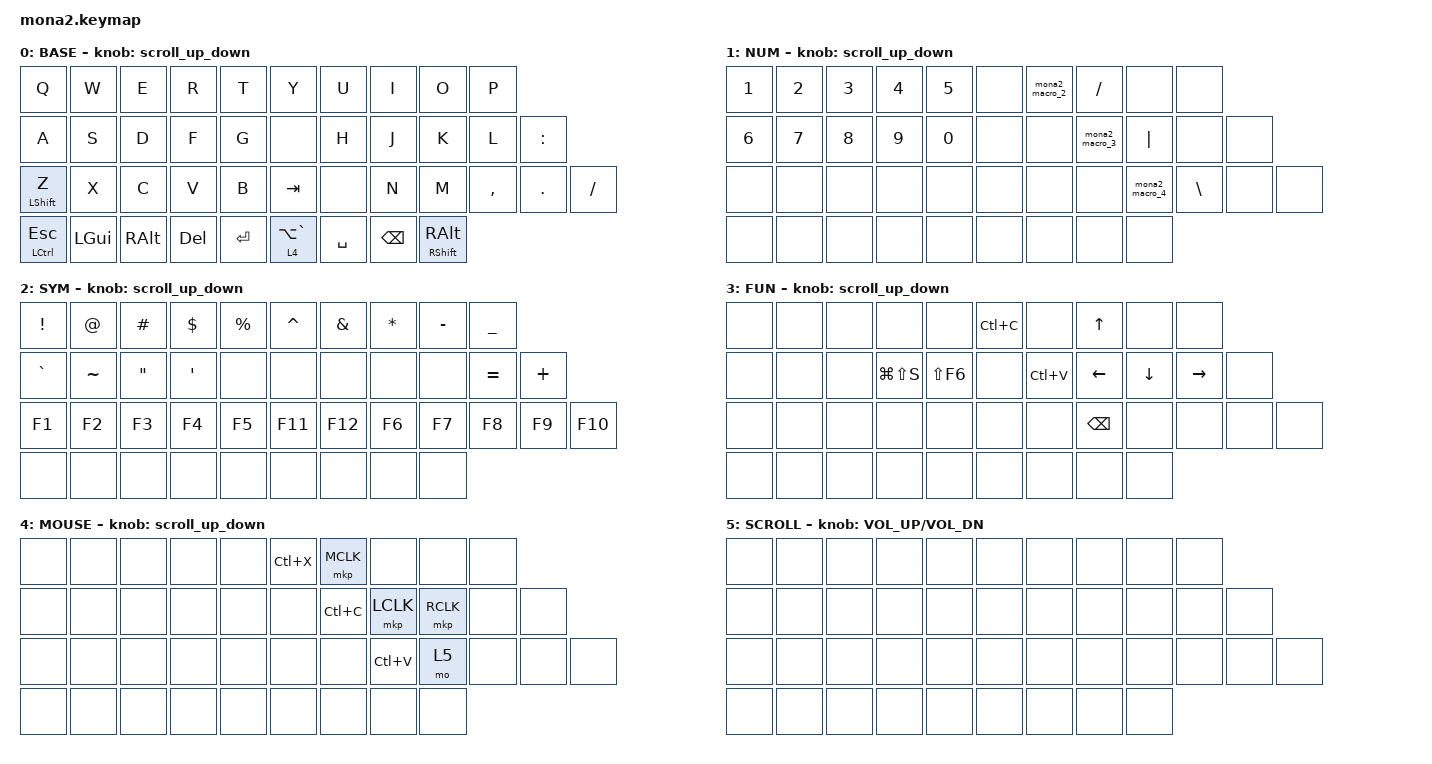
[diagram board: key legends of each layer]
/*
 * mona2.keymap — generated by moNa2 Studio
 * 公式ファームウェア (sayu-hub/zmk-config-moNa2-v2) の config/mona2.keymap を、このファイルで丸ごと置き換えます。
 * 配列: 42キー / 行構成 10・11・12・9 (公式ファームウェアの matrix transform 順)
 */

#include <input/processors.dtsi>
#include <dt-bindings/zmk/input_transform.h>
#include <zephyr/dt-bindings/input/input-event-codes.h>
#include <behaviors.dtsi>
#include <dt-bindings/zmk/bt.h>
#include <dt-bindings/zmk/keys.h>
#include <dt-bindings/zmk/pointing.h>

#define ZMK_POINTING_DEFAULT_SCRL_VAL 100

&mt {
    flavor = "balanced";
    quick-tap-ms = <0>;
};

&lt {
    quick-tap-ms = <300>;
    flavor = "balanced";
};

/ {
    mona2_macros {
        mona2_macro_1: mona2_macro_1 {
            compatible = "zmk,behavior-macro";
            #binding-cells = <0>;
            display-name = "Fpass";
            wait-ms = <15>;
            tap-ms = <30>;
            bindings
                = <&macro_tap &kp LS(F)>
                , <&macro_tap &kp J>
                , <&macro_tap &kp K>
                , <&macro_tap &kp L>
                , <&macro_tap &kp N0>
                , <&macro_tap &kp N1>
                , <&macro_tap &kp N7>
                , <&macro_tap &kp N0>
                , <&macro_tap &kp N1>
                , <&macro_tap &kp N6>
                , <&macro_tap &kp SEMI>
                ;
        };
        mona2_macro_2: mona2_macro_2 {
            compatible = "zmk,behavior-macro";
            #binding-cells = <0>;
            display-name = "( + )";
            wait-ms = <15>;
            tap-ms = <30>;
            bindings
                = <&macro_tap &kp LPAR>
                , <&macro_tap &kp RPAR>
                ;
        };
        mona2_macro_3: mona2_macro_3 {
            compatible = "zmk,behavior-macro";
            #binding-cells = <0>;
            display-name = "[ + ]";
            wait-ms = <15>;
            tap-ms = <30>;
            bindings
                = <&macro_tap &kp LBKT>
                , <&macro_tap &kp RBKT>
                ;
        };
        mona2_macro_4: mona2_macro_4 {
            compatible = "zmk,behavior-macro";
            #binding-cells = <0>;
            display-name = "{ + }";
            wait-ms = <15>;
            tap-ms = <30>;
            bindings
                = <&macro_tap &kp LBRC>
                , <&macro_tap &kp RBRC>
                ;
        };
    };

    combos {
        compatible = "zmk,combos";
        combo_1 {
            timeout-ms = <50>;
            key-positions = <17 18 19>;
            bindings = <&mona2_macro_1>;
            layers = <0>;
        };
        combo_2 {
            timeout-ms = <50>;
            key-positions = <0 36>;
            bindings = <&to 1>;
            layers = <0>;
        };
        combo_3 {
            timeout-ms = <50>;
            key-positions = <1 36>;
            bindings = <&to 2>;
            layers = <0>;
        };
        combo_4 {
            timeout-ms = <50>;
            key-positions = <2 36>;
            bindings = <&to 3>;
            layers = <0>;
        };
        combo_5 {
            timeout-ms = <50>;
            key-positions = <3 36>;
            bindings = <&to 4>;
            layers = <0>;
        };
        combo_6 {
            timeout-ms = <50>;
            key-positions = <38 39>;
            bindings = <&to 0>;
            layers = <1 2 3 4>;
        };
    };
    macros {
        to_layer_0: to_layer_0 {
            compatible = "zmk,behavior-macro-one-param";
            #binding-cells = <1>;
            bindings = <&to 0 &macro_param_1to1 &kp MACRO_PLACEHOLDER>;
            label = "TO_LAYER_0";
        };
    };

    behaviors {
        lt_to_layer_0: lt_to_layer_0 {
            compatible = "zmk,behavior-hold-tap";
            label = "LAYER_TAP_TO_0";
            bindings = <&mo>, <&to_layer_0>;
            #binding-cells = <2>;
            tapping-term-ms = <200>;
        };

        scroll_up_down: mouse_wheel_up_down {
            compatible = "zmk,behavior-sensor-rotate";
            #sensor-binding-cells = <0>;
            bindings = <&msc SCRL_DOWN>, <&msc SCRL_UP>;
            tap-ms = <20>;
        };

        scroll_right_left: mouse_wheel_right_left {
            compatible = "zmk,behavior-sensor-rotate";
            #sensor-binding-cells = <0>;
            bindings = <&msc SCRL_LEFT>, <&msc SCRL_RIGHT>;
            tap-ms = <20>;
        };
    };

    keymap {
        compatible = "zmk,keymap";

        layer_0 {
            display-name = "BASE";
            bindings = <
                &kp Q            &kp W            &kp E            &kp R            &kp T            &kp Y            &kp U            &kp I            &kp O            &kp P
                &kp A            &kp S            &kp D            &kp F            &kp G            &none            &kp H            &kp J            &kp K            &kp L            &kp COLON
                &mt LSHIFT Z     &kp X            &kp C            &kp V            &kp B            &kp TAB          &none            &kp N            &kp M            &kp COMMA        &kp DOT          &kp FSLH
                &mt LCTRL ESC    &kp LGUI         &kp RALT         &kp DEL          &kp ENTER        &lt 4 LA(GRAVE)  &kp SPACE        &kp BSPC         &mt RSHIFT RALT
            >;
            sensor-bindings = <&scroll_up_down>;
        };

        layer_1 {
            display-name = "NUM";
            bindings = <
                &kp N1           &kp N2           &kp N3           &kp N4           &kp N5           &none            &mona2_macro_2   &kp FSLH         &none            &none
                &kp N6           &kp N7           &kp N8           &kp N9           &kp N0           &none            &none            &mona2_macro_3   &kp PIPE         &none            &none
                &none            &none            &none            &none            &none            &none            &none            &none            &mona2_macro_4   &kp BSLH         &none            &none
                &none            &none            &none            &none            &none            &none            &none            &none            &none
            >;
            sensor-bindings = <&scroll_up_down>;
        };

        layer_2 {
            display-name = "SYM";
            bindings = <
                &kp EXCL         &kp AT           &kp HASH         &kp DLLR         &kp PRCNT        &kp CARET        &kp AMPS         &kp STAR         &kp MINUS        &kp UNDER
                &kp GRAVE        &kp TILDE        &kp DQT          &kp SQT          &none            &none            &none            &none            &none            &kp EQUAL        &kp PLUS
                &kp F1           &kp F2           &kp F3           &kp F4           &kp F5           &kp F11          &kp F12          &kp F6           &kp F7           &kp F8           &kp F9           &kp F10
                &none            &none            &none            &none            &none            &none            &none            &none            &none
            >;
            sensor-bindings = <&scroll_up_down>;
        };

        layer_3 {
            display-name = "FUN";
            bindings = <
                &none            &none            &none            &none            &none            &kp LC(C)        &none            &kp UP           &none            &none
                &none            &none            &none            &kp LG(LS(S))    &kp LS(F6)       &none            &kp LC(V)        &kp LEFT         &kp DOWN         &kp RIGHT        &none
                &none            &none            &none            &none            &none            &none            &none            &kp BSPC         &none            &none            &none            &none
                &none            &none            &none            &none            &none            &none            &none            &none            &none
            >;
            sensor-bindings = <&scroll_up_down>;
        };

        layer_4 {
            display-name = "MOUSE";
            bindings = <
                &none            &none            &none            &none            &none            &kp LC(X)        &mkp MCLK        &none            &none            &none
                &none            &none            &none            &none            &none            &none            &kp LC(C)        &mkp LCLK        &mkp RCLK        &none            &none
                &none            &none            &none            &none            &none            &none            &none            &kp LC(V)        &mo 5            &none            &none            &none
                &none            &none            &none            &none            &none            &none            &none            &none            &none
            >;
            sensor-bindings = <&scroll_up_down>;
        };

        layer_5 {
            display-name = "SCROLL";
            bindings = <
                &none            &none            &none            &none            &none            &none            &none            &none            &none            &none
                &none            &none            &none            &none            &none            &none            &none            &none            &none            &none            &none
                &none            &none            &none            &none            &none            &none            &none            &none            &none            &none            &none            &none
                &none            &none            &none            &none            &none            &none            &none            &none            &none
            >;
            sensor-bindings = <&inc_dec_kp C_VOL_UP C_VOL_DN>;
        };
    };
};

/* トラックボール (moNa2 Studio の設定。公式の mona2_r.overlay / mona2.dtsi の値を上書き) */
&trackball_central_listener {
    input-processors =
        <&zip_xy_transform (INPUT_TRANSFORM_X_INVERT | INPUT_TRANSFORM_Y_INVERT)>,
        <&zip_xy_transform INPUT_TRANSFORM_Y_INVERT>,
        <&zip_xy_scaler 4 3>,
        <&zip_temp_layer 4 700>;

    scroller {
        layers = <5>;
        input-processors =
            <&zip_xy_transform (INPUT_TRANSFORM_X_INVERT | INPUT_TRANSFORM_Y_INVERT)>,
            <&zip_xy_transform INPUT_TRANSFORM_X_INVERT>,
            <&zip_xy_to_scroll_mapper>,
            <&zip_scroll_transform INPUT_TRANSFORM_X_INVERT>,
            <&zip_scroll_scaler 1 5>;
    };
};

/* スリープから、キーを押して起きられるようにする (moNa2 Studio の設定) */
&kscan0 {
    wakeup-source;
};
